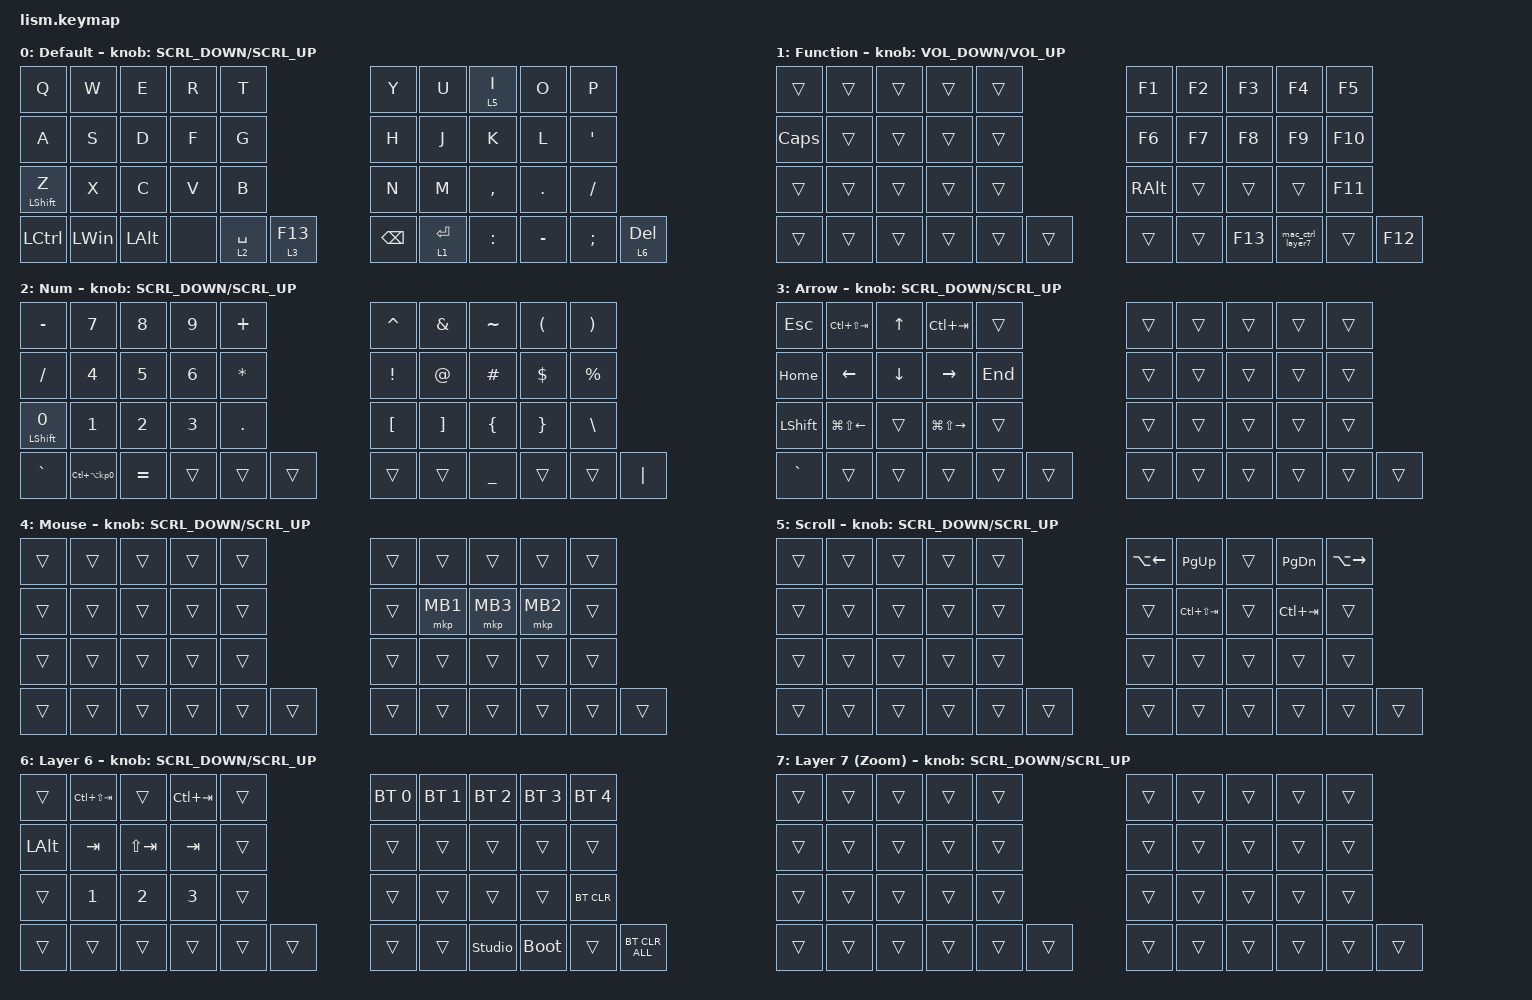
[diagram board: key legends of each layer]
#define ZMK_POINTING_DEFAULT_SCRL_VAL 100

#include <behaviors.dtsi>
#include <dt-bindings/zmk/bt.h>
#include <dt-bindings/zmk/keys.h>
#include <dt-bindings/zmk/pointing.h>
#include <dt-bindings/zmk/mouse.h>

&mt {
    flavor = "balanced";
    tapping-term-ms = <200>;
    quick-tap-ms = <0>;
    require-prior-idle-ms = <150>;
};

&lt {
    quick-tap-ms = <300>;
};

&mmv {
    delay-ms = <20>;
    trigger-period-ms = <5>;
    time-to-max-speed-ms = <100>;
    acceleration-exponent = <2>;
};

&msc {
    delay-ms = <0>;
    trigger-period-ms = <10>;
    time-to-max-speed-ms = <100>;
    acceleration-exponent = <0>;
};


/ {
    combos {
        compatible = "zmk,combos";

        tab {
            bindings = <&kp TAB>;
            key-positions = <11 12>;
        };

        shift_tab {
            bindings = <&kp LS(TAB)>;
            key-positions = <12 13>;
        };

        double_quotation {
            bindings = <&kp DOUBLE_QUOTES>;
            key-positions = <18 19>;
        };

        eq {
            bindings = <&kp EQUAL>;
            key-positions = <22 23>;
        };

        mouse_left_click {
            bindings = <&mkp MB1>;
            key-positions = <16 17>;
        };

        mouse_right_click {
            bindings = <&mkp MB2>;
            key-positions = <17 18>;
        };
    };

    macros {


        mac_ctrl_layer7: mac_ctrl_layer7 {
            compatible = "zmk,behavior-macro";
            #binding-cells = <0>;
            wait-ms = <0>;
            tap-ms = <0>;
            bindings
                = <&macro_press &kp LCTRL>
                , <&macro_press &mo 7>
                , <&macro_pause_for_release>
                , <&macro_release &mo 7>
                , <&macro_release &kp LCTRL>
                ;
        };
    };

    behaviors {


        encoder_msc: sensor_rotate_msc {
            compatible = "zmk,behavior-sensor-rotate-var";
            #sensor-binding-cells = <2>;
            bindings = <&msc>, <&msc>;
            tap-ms = <15>;
        };

        encoder_kp: sensor_rotate_kp {
            compatible = "zmk,behavior-sensor-rotate-var";
            #sensor-binding-cells = <2>;
            bindings = <&kp>, <&kp>;
        };
    };

    keymap {
        compatible = "zmk,keymap";

        default_layer {
            display-name = "Default";
            bindings = <
&kp Q             &kp W         &kp E         &kp R                        &kp T                                           &kp Y        &kp U        &lt 5 I      &kp O    &kp P
&kp A             &kp S         &kp D         &kp F                        &kp G                                           &kp H        &kp J        &kp K        &kp L    &kp SQT
&mt LEFT_SHIFT Z  &kp X         &kp C         &kp V                        &kp B                                           &kp N        &kp M        &kp COMMA    &kp DOT  &kp SLASH
&kp LCTRL         &kp LEFT_WIN  &kp LEFT_ALT  &none                        &lt 2 SPACE  &lt 3 F13                          &kp BACKSPACE  &lt 1 ENTER  &kp COLON    &kp MINUS  &kp SEMICOLON  &lt 6 DEL
            >;
            sensor-bindings = <&encoder_msc SCRL_DOWN SCRL_UP>;
        };

        FUNCTION {
            display-name = "Function";
            bindings = <
&trans  &trans  &trans  &trans  &trans                                         &kp F1   &kp F2   &kp F3   &kp F4   &kp F5
&kp CAPS  &trans  &trans  &trans  &trans                                         &kp F6   &kp F7   &kp F8   &kp F9   &kp F10
&trans  &trans  &trans  &trans  &trans                                         &kp RIGHT_ALT  &trans  &trans  &trans  &kp F11
&trans  &trans  &trans  &trans  &trans  &trans                                 &trans   &trans   &kp F13  &mac_ctrl_layer7  &trans  &kp F12
            >;
            sensor-bindings = <&encoder_kp C_VOLUME_DOWN C_VOLUME_UP>;
        };

        NUM {
            display-name = "Num";
            bindings = <
&kp MINUS                   &kp NUMBER_7     &kp NUMBER_8     &kp NUMBER_9     &kp PLUS                                        &kp CARET    &kp AMPERSAND  &kp TILDE    &kp LEFT_PARENTHESIS  &kp RIGHT_PARENTHESIS
&kp SLASH                   &kp NUMBER_4     &kp NUMBER_5     &kp NUMBER_6     &kp ASTERISK                                    &kp EXCLAMATION   &kp AT_SIGN    &kp HASH     &kp DOLLAR            &kp PERCENT
&mt LEFT_SHIFT NUMBER_0     &kp NUMBER_1     &kp NUMBER_2     &kp NUMBER_3     &kp PERIOD                                      &kp LEFT_BRACKET  &kp RIGHT_BRACKET  &kp LEFT_BRACE  &kp RIGHT_BRACE       &kp BACKSLASH
&kp GRAVE                   &kp LC(LA(KP_NUMBER_0))  &kp EQUAL  &trans           &trans        &trans                          &trans       &trans         &kp UNDERSCORE  &trans               &trans                &kp PIPE
            >;
            sensor-bindings = <&encoder_msc SCRL_DOWN SCRL_UP>;
        };

        ARROW {
            display-name = "Arrow";
            bindings = <
&kp ESCAPE      &kp LC(LS(TAB))         &kp UP_ARROW    &kp LC(TAB)              &trans                                        &trans  &trans  &trans  &trans  &trans
&kp HOME        &kp LEFT_ARROW          &kp DOWN_ARROW  &kp RIGHT_ARROW          &kp END                                       &trans  &trans  &trans  &trans  &trans
&kp LEFT_SHIFT  &kp LG(LS(LEFT_ARROW))  &trans          &kp LG(LS(RIGHT_ARROW))  &trans                                        &trans  &trans  &trans  &trans  &trans
&kp GRAVE       &trans                  &trans          &trans                   &trans   &trans                               &trans  &trans  &trans  &trans  &trans  &trans
            >;
            sensor-bindings = <&encoder_msc SCRL_DOWN SCRL_UP>;
        };

        MOUSE {
            display-name = "Mouse";
            bindings = <
&trans  &trans  &trans  &trans  &trans                                         &trans  &trans    &trans    &trans    &trans
&trans  &trans  &trans  &trans  &trans                                         &trans  &mkp MB1  &mkp MB3  &mkp MB2  &trans
&trans  &trans  &trans  &trans  &trans                                         &trans  &trans    &trans    &trans    &trans
&trans  &trans  &trans  &trans  &trans  &trans                                 &trans  &trans    &trans    &trans    &trans    &trans
            >;
            sensor-bindings = <&encoder_msc SCRL_DOWN SCRL_UP>;
        };

        SCROLL {
            display-name = "Scroll";
            bindings = <
&trans  &trans  &trans  &trans  &trans                                         &kp LA(LEFT)  &kp PAGE_UP       &trans  &kp PAGE_DOWN  &kp LA(RIGHT)
&trans  &trans  &trans  &trans  &trans                                         &trans  &kp LC(LS(TAB))   &trans  &kp LC(TAB)    &trans
&trans  &trans  &trans  &trans  &trans                                         &trans  &trans            &trans  &trans         &trans
&trans  &trans  &trans  &trans  &trans  &trans                                 &trans  &trans            &trans  &trans         &trans    &trans
            >;
            sensor-bindings = <&encoder_msc SCRL_DOWN SCRL_UP>;
        };

        layer_6 {
            display-name = "Layer 6";
            bindings = <
&trans         &kp LC(LS(TAB))  &trans        &kp LC(TAB)      &trans                               &bt BT_SEL 0  &bt BT_SEL 1  &bt BT_SEL 2  &bt BT_SEL 3  &bt BT_SEL 4
&kp LEFT_ALT   &kp TAB          &kp LS(TAB)   &kp TAB          &trans                               &trans        &trans        &trans        &trans        &trans
&trans         &kp NUMBER_1     &kp NUMBER_2  &kp NUMBER_3     &trans                               &trans        &trans        &trans        &trans        &bt BT_CLR
&trans         &trans           &trans        &trans           &trans    &trans                     &trans        &trans        &studio_unlock  &bootloader &trans  &bt BT_CLR_ALL
            >;
            sensor-bindings = <&encoder_msc SCRL_DOWN SCRL_UP>;
        };

        layer_7_ctrl_zoom {
            display-name = "Layer 7 (Zoom)";
            bindings = <
&trans  &trans  &trans  &trans  &trans                                         &trans  &trans  &trans  &trans  &trans
&trans  &trans  &trans  &trans  &trans                                         &trans  &trans  &trans  &trans  &trans
&trans  &trans  &trans  &trans  &trans                                         &trans  &trans  &trans  &trans  &trans
&trans  &trans  &trans  &trans  &trans  &trans                                 &trans  &trans  &trans  &trans  &trans  &trans
            >;
            sensor-bindings = <&encoder_msc SCRL_DOWN SCRL_UP>;
        };
    };
};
